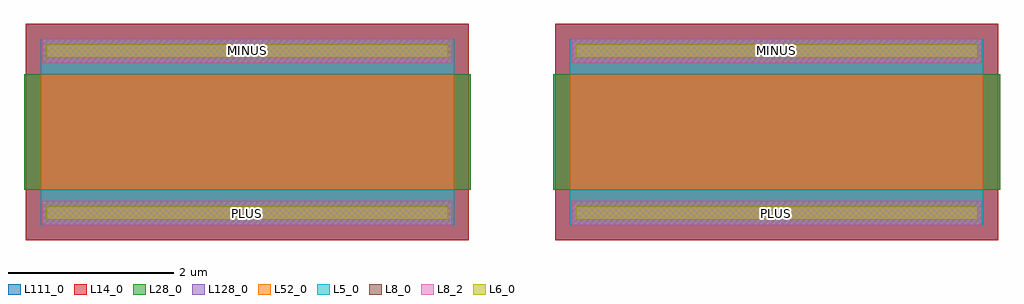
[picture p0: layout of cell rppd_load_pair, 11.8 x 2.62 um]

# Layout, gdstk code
from math import pi, radians
import gdstk
lib = gdstk.Library(unit=1e-6, precision=1e-09)
def R(c, l, rs):  # rectangles x0, y0, x1, y1
    for r in rs: c.add(gdstk.rectangle(r[:2], r[2:], *l))
L5_0 = (5, 0)
L6_0 = (6, 0)
L8_0 = (8, 0)
L8_2 = (8, 2)
L14_0 = (14, 0)
L28_0 = (28, 0)
L52_0 = (52, 0)
L111_0 = (111, 0)
L128_0 = (128, 0)

rppd_load_a_n = lib.new_cell('rppd_load_a_n')
R(rppd_load_a_n, L5_0, [(0,-0.43,5,-0.2), (0,-0.2,5,0), (0,1.4,5,1.6), (0,1.6,5,1.83)])
R(rppd_load_a_n, L6_0, [(0.07,-0.36,4.93,-0.2), (0.07,1.6,4.93,1.76)])
R(rppd_load_a_n, L8_0, [(0.02,-0.43,4.98,-0.13), (0.02,1.53,4.98,1.83)])
R(rppd_load_a_n, L8_2, [(0.02,-0.43,4.98,-0.13), (0.02,1.53,4.98,1.83)])
R(rppd_load_a_n, L14_0, [(-0.18,-0.61,5.18,0), (-0.18,0,5.18,1.4), (-0.18,1.4,5.18,2.01)])
R(rppd_load_a_n, L28_0, [(-0.2,0,5.2,1.4)])
R(rppd_load_a_n, L52_0, [(0,0,5,1.4)])
R(rppd_load_a_n, L111_0, [(-0.18,-0.61,5.18,0), (-0.2,0,5.2,1.4), (-0.18,1.4,5.18,2.01)])
R(rppd_load_a_n, L128_0, [(0,0,5,1.4)])
rppd_load_a_n.add(gdstk.Label('rppd r=86.713', (2.5,0.7), layer=63, texttype=0))
rppd_load_a_n.add(gdstk.Label('rppd', (2.5,0.7), layer=52, texttype=0))

rppd_load_b_m = lib.new_cell('rppd_load_b_m')
R(rppd_load_b_m, L5_0, [(0,-0.43,5,-0.2), (0,-0.2,5,0), (0,1.4,5,1.6), (0,1.6,5,1.83)])
R(rppd_load_b_m, L6_0, [(0.07,-0.36,4.93,-0.2), (0.07,1.6,4.93,1.76)])
R(rppd_load_b_m, L8_0, [(0.02,-0.43,4.98,-0.13), (0.02,1.53,4.98,1.83)])
R(rppd_load_b_m, L8_2, [(0.02,-0.43,4.98,-0.13), (0.02,1.53,4.98,1.83)])
R(rppd_load_b_m, L14_0, [(-0.18,-0.61,5.18,0), (-0.18,0,5.18,1.4), (-0.18,1.4,5.18,2.01)])
R(rppd_load_b_m, L28_0, [(-0.2,0,5.2,1.4)])
R(rppd_load_b_m, L52_0, [(0,0,5,1.4)])
R(rppd_load_b_m, L111_0, [(-0.18,-0.61,5.18,0), (-0.2,0,5.2,1.4), (-0.18,1.4,5.18,2.01)])
R(rppd_load_b_m, L128_0, [(0,0,5,1.4)])
rppd_load_b_m.add(gdstk.Label('rppd r=86.713', (2.5,0.7), layer=63, texttype=0))
rppd_load_b_m.add(gdstk.Label('rppd', (2.5,0.7), layer=52, texttype=0))

rppd_load_pair = lib.new_cell('rppd_load_pair')
rppd_load_pair.add(gdstk.Reference(rppd_load_a_n, (0,0)))
rppd_load_pair.add(gdstk.Reference(rppd_load_b_m, (11.4,0), rotation=pi, x_reflection=True))
rppd_load_pair.add(gdstk.Label('PLUS', (2.5,-0.28), layer=8, texttype=25))
rppd_load_pair.add(gdstk.Label('MINUS', (2.5,1.68), layer=8, texttype=25))
rppd_load_pair.add(gdstk.Label('PLUS', (8.9,-0.28), layer=8, texttype=25))
rppd_load_pair.add(gdstk.Label('MINUS', (8.9,1.68), layer=8, texttype=25))

lib.write_gds('rppd_load_pair.gds')
